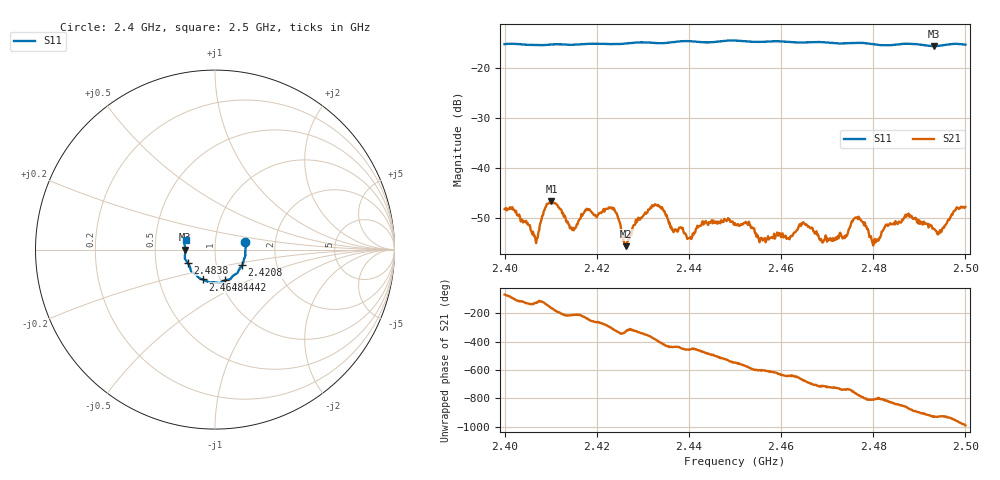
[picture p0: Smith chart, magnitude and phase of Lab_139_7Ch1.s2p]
# Hz S RI R 50
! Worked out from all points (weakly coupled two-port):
!   601 points, 2.4 GHz to 2.5 GHz, reference 50 ohm
!   highest |S21| = -46.64 dB at 2.4102 GHz (marker M1); lowest = -55.7 dB at 2.4263 GHz (marker M2)
!   lowest |S11| = -15.6 dB at 2.4932 GHz (marker M3), VSWR 1.40, Z = 35.8 - j0.0818 ohm
!   |S11| at or under -10 dB: start of sweep to end of sweep
!   S12 and S22 are empty: the file has one direction only
!   S11 on the Smith chart (normalised r, x): 2.4 GHz: 1.40, +0.12; 2.4208 GHz: 1.33, -0.24; 2.4442 GHz: 1.05, -0.37; 2.4648 GHz: 0.83, -0.28; 2.4838 GHz: 0.73, -0.11; 2.5 GHz: 0.72, +0.08
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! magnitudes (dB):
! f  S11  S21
! 2.4 GHz  -15.2  -48.3
! 2.4068 GHz  -15.4  -55.1
! 2.4102 GHz  -15.3  -46.6
! 2.4147 GHz  -15.4  -52.4
! 2.4167 GHz  -15.3  -49.2
! 2.4208 GHz  -15.2  -49.0
! 2.4238 GHz  -15.2  -48.4
! 2.4263 GHz  -15.1  -55.7
! 2.4333 GHz  -15.0  -47.4
! 2.44 GHz  -14.6  -54.1
! 2.4442 GHz  -14.9  -51.5
! 2.45 GHz  -14.5  -51.1
! 2.4565 GHz  -14.8  -54.1
! 2.4648 GHz  -14.9  -50.9
! 2.4667 GHz  -14.8  -52.0
! 2.4737 GHz  -15.1  -53.8
! 2.4765 GHz  -15.0  -49.9
! 2.4802 GHz  -15.3  -54.8
! 2.4833 GHz  -15.5  -51.4
! 2.4838 GHz  -15.4  -51.3
! 2.4932 GHz  -15.6  -52.2
! 2.5 GHz  -15.3  -47.8
